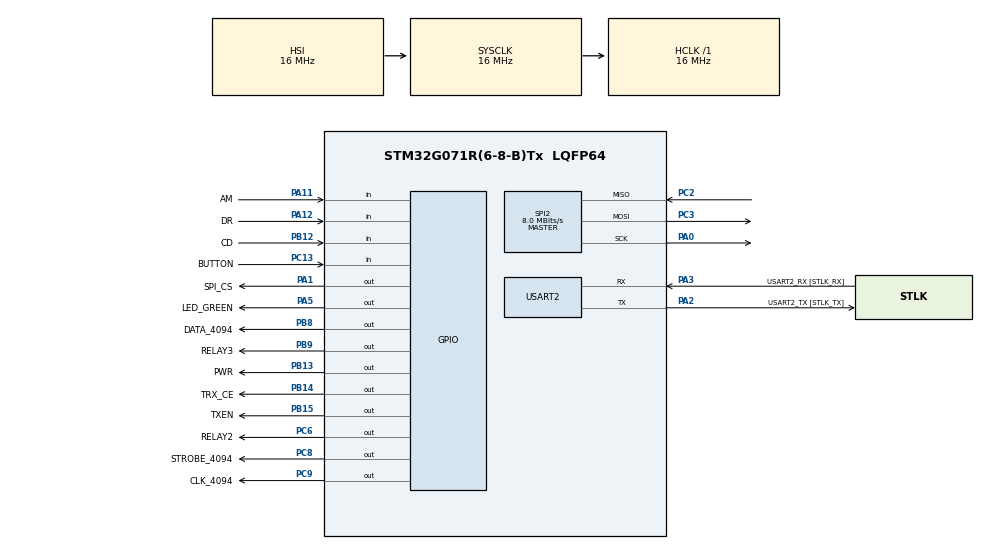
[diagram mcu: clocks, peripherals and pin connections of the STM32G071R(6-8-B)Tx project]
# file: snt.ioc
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Mcu.Family=STM32G0
Mcu.Name=STM32G071R(6-8-B)Tx
Mcu.Package=LQFP64
NVIC.SPI2_IRQn=true\:0\:0\:false\:false\:true\:true\:true\:true
PA0.GPIO_PuPd=GPIO_NOPULL
PA0.Mode=Full_Duplex_Master
PA0.Signal=SPI2_SCK
PA1.GPIO_Label=SPI_CS
PA1.GPIO_PuPd=GPIO_NOPULL
PA1.Signal=GPIO_Output
PA11\ [PA9].GPIO_Label=AM
PA11\ [PA9].Signal=GPIO_Input
PA12\ [PA10].GPIO_Label=DR
PA12\ [PA10].Signal=GPIO_Input
PA13.GPIO_Label=TMS
PA13.Mode=Serial_Wire
PA13.Signal=SYS_SWDIO
PA14-BOOT0.GPIO_Label=TCK
PA14-BOOT0.Mode=Serial_Wire
PA14-BOOT0.Signal=SYS_SWCLK
PA2.GPIO_Label=USART2_TX [STLK_TX]
PA2.GPIO_PuPd=GPIO_PULLUP
PA2.Mode=Asynchronous
PA2.Signal=USART2_TX
PA3.GPIO_Label=USART2_RX [STLK_RX]
PA3.GPIO_PuPd=GPIO_PULLUP
PA3.Mode=Asynchronous
PA3.Signal=USART2_RX
PA5.GPIO_Label=LED_GREEN
PA5.GPIO_Speed=GPIO_SPEED_FREQ_HIGH
PA5.Signal=GPIO_Output
PB12.GPIO_Label=CD
PB12.Signal=GPIO_Input
PB13.GPIO_Label=PWR
PB13.GPIO_PuPd=GPIO_NOPULL
PB13.Signal=GPIO_Output
PB14.GPIO_Label=TRX_CE
PB14.GPIO_PuPd=GPIO_NOPULL
PB14.Signal=GPIO_Output
PB15.GPIO_Label=TXEN
PB15.GPIO_PuPd=GPIO_NOPULL
PB15.Signal=GPIO_Output
PB8.GPIO_Label=DATA_4094
PB8.Signal=GPIO_Output
PB9.GPIO_Label=RELAY3
PB9.Signal=GPIO_Output
PC13.GPIO_Label=BUTTON
PC13.Signal=GPIO_Input
PC14-OSC32_IN\ (PC14).Mode=LSE-External-Oscillator
PC14-OSC32_IN\ (PC14).Signal=RCC_OSC32_IN
PC15-OSC32_OUT\ (PC15).Mode=LSE-External-Oscillator
PC15-OSC32_OUT\ (PC15).Signal=RCC_OSC32_OUT
PC2.GPIO_PuPd=GPIO_NOPULL
PC2.Mode=Full_Duplex_Master
PC2.Signal=SPI2_MISO
PC3.GPIO_PuPd=GPIO_NOPULL
PC3.Mode=Full_Duplex_Master
PC3.Signal=SPI2_MOSI
PC6.GPIO_Label=RELAY2
PC6.Signal=GPIO_Output
PC8.GPIO_Label=STROBE_4094
PC8.Signal=GPIO_Output
PC9.GPIO_Label=CLK_4094
PC9.Signal=GPIO_Output
PF0-OSC_IN\ (PF0).GPIO_Label=MCO
PF0-OSC_IN\ (PF0).Mode=HSE-External-Clock-Source
PF0-OSC_IN\ (PF0).Signal=RCC_OSC_IN
ProjectManager.HeapSize=0x200
ProjectManager.StackSize=0x400
ProjectManager.TargetToolchain=STM32CubeIDE
RCC.AHBFreq_Value=16000000
RCC.CortexFreq_Value=16000000
RCC.EXTERNAL_CLOCK_VALUE=12288000
RCC.HCLKFreq_Value=16000000
RCC.HSE_VALUE=8000000
RCC.HSI_VALUE=16000000
RCC.SYSCLKFreq_VALUE=16000000
RCC.VCOOutputFreq_Value=128000000
SPI2.BaudRatePrescaler=SPI_BAUDRATEPRESCALER_2
SPI2.CalculateBaudRate=8.0 MBits/s
SPI2.DataSize=SPI_DATASIZE_8BIT
SPI2.Direction=SPI_DIRECTION_2LINES
SPI2.Mode=SPI_MODE_MASTER
SPI2.VirtualType=VM_MASTER
TIM3.Prescaler=79
USART2.VirtualMode-Asynchronous=VM_ASYNC
VP_SYS_VS_DBSignals.Mode=DisableDeadBatterySignals
VP_TIM3_VS_ClockSourceINT.Mode=Internal
board=NUCLEO-G071RB

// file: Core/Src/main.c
/* USER CODE BEGIN Header */
/**
  ******************************************************************************
  * @file           : main.c
  * @brief          : Main program body
  ******************************************************************************
  * @attention
  *
  * Copyright (c) 2022 STMicroelectronics.
  * All rights reserved.
  *
  * This software is licensed under terms that can be found in the LICENSE file
  * in the root directory of this software component.
  * If no LICENSE file comes with this software, it is provided AS-IS.
  *
  ******************************************************************************
  */
/* USER CODE END Header */
#include "main.h"
#include "spi.h"
#include "tim.h"
#include "usart.h"
#include "gpio.h"

/* USER CODE BEGIN Includes */
#include <stdio.h>
#include <stdlib.h>
#include <stdbool.h>
#include "cd4094.h"

#include "NRF905.h"
/* USER CODE END Includes */

void SystemClock_Config(void);
/* USER CODE BEGIN PFP */
//int _write(int file, char *ptr, int len) {
//	HAL_UART_Transmit(&huart2, (uint8_t*) ptr, len, 50);
//	for (int i = 0; i < len; i++) {
//		ITM_SendChar(*ptr++);
//	}
//	return len;
//}
/* USER CODE END PFP */

/* USER CODE BEGIN 0 */
extern void initialise_monitor_handles(void);
NRF905_hw_t NRF905_hw;
NRF905_t NRF905;

int master;
int ret;

char buffer[64];
uint8_t nrf905_payload_buffer[NRF905_MAX_PAYLOAD + 1];

int message;
int message_length;

volatile bool tx_flag = false;
volatile int state = 0;

int dr = 0;
int temp_dr = 0;

uint32_t my_address;
uint32_t receiver_address;

#define ADDRESS_MASTER 0xA2B5D154
#define ADDRESS_SLAVE  0xA2B5D154

/* USER CODE END 0 */

int main(void)
{
  /* USER CODE BEGIN 1 */
	initialise_monitor_handles();
  /* USER CODE END 1 */

  /* MCU Configuration--------------------------------------------------------*/

  /* Reset of all peripherals, Initializes the Flash interface and the Systick. */
  HAL_Init();

  /* Configure the system clock */
  SystemClock_Config();

  /* Initialize all configured peripherals */
  MX_GPIO_Init();
  MX_USART2_UART_Init();
  MX_SPI2_Init();
  MX_TIM3_Init();
  /* USER CODE BEGIN 2 */
  uint32_t uid = 0x00;
  	for (uint8_t i = 0; i < 3; ++i) {
  		uid += *(uint32_t*) (UID_BASE + i * 4);
  	}
  	srand(uid);

  	NRF905_hw.gpio[NRF905_HW_GPIO_TXEN].pin = TXEN_Pin;
  	NRF905_hw.gpio[NRF905_HW_GPIO_TXEN].port = TXEN_GPIO_Port;
  	NRF905_hw.gpio[NRF905_HW_GPIO_TRX_EN].pin = TRX_CE_Pin;
  	NRF905_hw.gpio[NRF905_HW_GPIO_TRX_EN].port = TRX_CE_GPIO_Port;
  	NRF905_hw.gpio[NRF905_HW_GPIO_PWR].pin = PWR_Pin;
  	NRF905_hw.gpio[NRF905_HW_GPIO_PWR].port = PWR_GPIO_Port;

  	NRF905_hw.gpio[NRF905_HW_GPIO_CD].pin = CD_Pin;
  	NRF905_hw.gpio[NRF905_HW_GPIO_CD].port = CD_GPIO_Port;
  	NRF905_hw.gpio[NRF905_HW_GPIO_AM].pin = AM_Pin;
  	NRF905_hw.gpio[NRF905_HW_GPIO_AM].port = AM_GPIO_Port;
  	NRF905_hw.gpio[NRF905_HW_GPIO_DR].pin = DR_Pin;
  	NRF905_hw.gpio[NRF905_HW_GPIO_DR].port = DR_GPIO_Port;

  	NRF905_hw.gpio[NRF905_HW_GPIO_CS].pin = SPI_CS_Pin;
  	NRF905_hw.gpio[NRF905_HW_GPIO_CS].port = SPI_CS_GPIO_Port;

  	NRF905_hw.tim = &htim3;
  	NRF905_hw.spi = &hspi2;

  	master = 1; //HAL_GPIO_ReadPin(MODE_GPIO_Port, MODE_Pin);
  	if (master == 1) {
  		my_address = ADDRESS_MASTER;
  		receiver_address = ADDRESS_SLAVE;
  	} else {
  		my_address = ADDRESS_SLAVE;
  		receiver_address = ADDRESS_MASTER;
  	}

  	if (master == 1) {
  		printf("Mode: Master, TX, %08lX\r\n", my_address);
  		HAL_GPIO_WritePin(LED_GREEN_GPIO_Port, LED_GREEN_Pin, GPIO_PIN_RESET);
  	} else {
  		printf("Mode: Slave, RX, %08lX\r\n", my_address);
  		HAL_GPIO_WritePin(LED_GREEN_GPIO_Port, LED_GREEN_Pin, GPIO_PIN_SET);
  	}

  	NRF905_init(&NRF905, &NRF905_hw);
  	NRF905_set_listen_address(&NRF905, receiver_address);

  	printf("Reg conf: ");
  	for (int i = 0; i < 10; ++i) {
  		uint8_t d = NRF905_read_config_register(&NRF905, i);
  		printf("%02X, ", d);
  	}
  	printf("\r\n");
  /* USER CODE END 2 */

  /* Infinite loop */
  /* USER CODE BEGIN WHILE */
//  	int c = 0;
	while (1) {

		if(!HAL_GPIO_ReadPin(BUTTON_GPIO_Port, BUTTON_Pin)){

//		uint8_t len = sprintf(nrf905_payload_buffer, "Hello SNT, from %08lX!", c,
//				my_address);
//		printf("Sending (%d): %s\r\n", len, nrf905_payload_buffer);
		nrf905_payload_buffer[0] = 0x00;
		nrf905_payload_buffer[1] = 0x00;
		nrf905_payload_buffer[2] = 0xD3;
		nrf905_payload_buffer[3] = 0x00;
		nrf905_payload_buffer[4] = 0x00;
		nrf905_payload_buffer[5] = 0x00;
		nrf905_payload_buffer[6] = 0x00;
		nrf905_payload_buffer[7] = 0x00;
		nrf905_payload_buffer[8] = 0x00;

		ret = 0;

//		ret = NRF905_tx(&NRF905, my_address, (uint8_t*)nrf905_payload_buffer, NRF905_MAX_PAYLOAD + 1,
//									NRF905_NEXTMODE_STANDBY);

		switch(state){

		case 0:
			state = NRF905_tx_it(&NRF905, my_address, (uint8_t*)nrf905_payload_buffer, NRF905_MAX_PAYLOAD + 1,
							NRF905_NEXTMODE_STANDBY);
			break;

		case 1:
			if(tx_flag == true){
				state++;
				tx_flag = false;
				ret = 1;
			}

			break;

		case 2:
			state = NRF905_tx_down(&NRF905, my_address, (uint8_t*)nrf905_payload_buffer, NRF905_MAX_PAYLOAD + 1,
										NRF905_NEXTMODE_STANDBY);
//			printf("count = %d\r\n", ++c);
//			HAL_Delay(100);
			break;
		default:
			break;

		}

//		printf("ret = %d\r\n", ret);
		}
//		dr = HAL_GPIO_ReadPin(DR_GPIO_Port, DR_Pin);
//		if(dr != temp_dr){
//			printf("dr change %d to %d", temp_dr, dr);
//			temp_dr = dr;
//		}

//		printf("Switching to RX (%08lX)\r\n", my_address);
//		NRF905_rx(&NRF905);
//		uint32_t wait = rand() % 21 + 20;
//		printf("Waiting for max %ld ms\r\n", wait * 100);
//		uint8_t response_ok = 0;
//		for (int i = 0; i < wait; ++i) {
//			uint8_t state_DR = NRF905_data_ready(&NRF905);
//			uint8_t state_AM = NRF905_address_matched(&NRF905);
//
//			if (state_DR && state_AM) {
//				NRF905_read(&NRF905, nrf905_payload_buffer, NRF905_MAX_PAYLOAD);
//				nrf905_payload_buffer[NRF905_MAX_PAYLOAD] = 0x00;
//				printf("Received: %s\r\n", nrf905_payload_buffer);
//				printf("Switching to TX (%08lX)\r\n", my_address);
//				response_ok = 1;
//				break;
//			}
//
//			HAL_Delay(100);
//		}
//		if (response_ok == 0) {
//			printf("No response\r\n");
//		}

//		uint8_t data[NRF905_MAX_PAYLOAD] = {0x00};
//		data[0] = 0x00;
//		data[1] = 0xAA;
//		data[2] = 0x00;
//		data[3] = 0x55;
//		data[4] = 0x00;
//
//		while(!NRF905_tx(&NRF905, receiver_address, (uint8_t*)data, NRF905_MAX_PAYLOAD, NRF905_NEXTMODE_STANDBY)){
//			c++;
//			}
//		printf("sent %d \n", c);
//		HAL_Delay(1000);

    /* USER CODE END WHILE */

  }
}

void SystemClock_Config(void)
{
  RCC_OscInitTypeDef RCC_OscInitStruct = {0};
  RCC_ClkInitTypeDef RCC_ClkInitStruct = {0};

  /** Configure the main internal regulator output voltage
  */
  HAL_PWREx_ControlVoltageScaling(PWR_REGULATOR_VOLTAGE_SCALE1);

  /** Initializes the RCC Oscillators according to the specified parameters
  * in the RCC_OscInitTypeDef structure.
  */
  RCC_OscInitStruct.OscillatorType = RCC_OSCILLATORTYPE_HSI;
  RCC_OscInitStruct.HSIState = RCC_HSI_ON;
  RCC_OscInitStruct.HSIDiv = RCC_HSI_DIV1;
  RCC_OscInitStruct.HSICalibrationValue = RCC_HSICALIBRATION_DEFAULT;
  RCC_OscInitStruct.PLL.PLLState = RCC_PLL_NONE;
  if (HAL_RCC_OscConfig(&RCC_OscInitStruct) != HAL_OK)
  {
    Error_Handler();
  }

  /** Initializes the CPU, AHB and APB buses clocks
  */
  RCC_ClkInitStruct.ClockType = RCC_CLOCKTYPE_HCLK|RCC_CLOCKTYPE_SYSCLK
                              |RCC_CLOCKTYPE_PCLK1;
  RCC_ClkInitStruct.SYSCLKSource = RCC_SYSCLKSOURCE_HSI;
  RCC_ClkInitStruct.AHBCLKDivider = RCC_SYSCLK_DIV1;
  RCC_ClkInitStruct.APB1CLKDivider = RCC_HCLK_DIV1;

  if (HAL_RCC_ClockConfig(&RCC_ClkInitStruct, FLASH_LATENCY_0) != HAL_OK)
  {
    Error_Handler();
  }
}

/* USER CODE BEGIN 4 */
int call = 0;
void HAL_SPI_TxCpltCallback(SPI_HandleTypeDef *hspi){

//	printf("%d\n", call++);
	NRF905_spi_deselect(&NRF905);
	tx_flag = true;

}

void HAL_GPIO_EXTI_Rising_Callback(uint16_t GPIO_Pin){

	if (GPIO_Pin == GPIO_PIN_12){

		state = 0;

	}

}
/* USER CODE END 4 */

void Error_Handler(void)
{
  __disable_irq();
  while (1)
  {
  }
}
